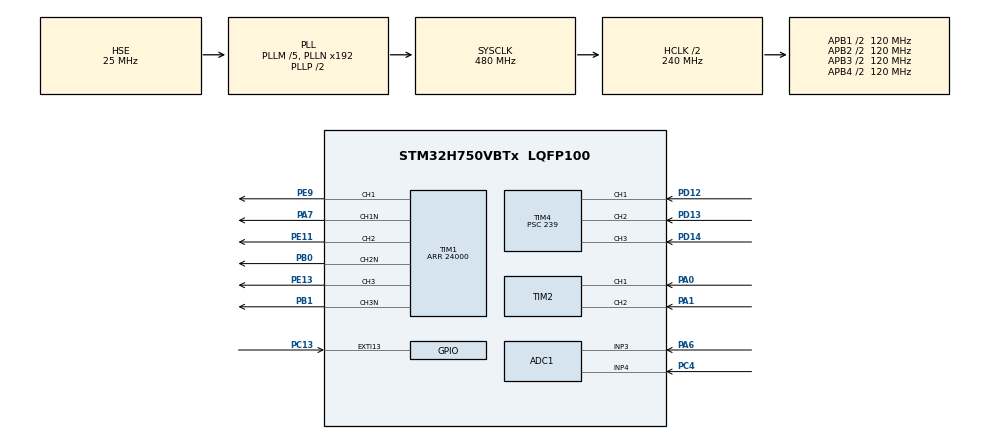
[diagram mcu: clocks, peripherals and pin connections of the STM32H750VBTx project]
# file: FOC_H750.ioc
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ADC1.Channel-0\#ChannelRegularConversion=ADC_CHANNEL_3
ADC1.ExternalTrigConv=ADC_EXTERNALTRIG_T1_TRGO
ADC1.NbrOfConversionFlag=1
ADC1.OffsetNumber-0\#ChannelRegularConversion=ADC_OFFSET_NONE
ADC1.OffsetSignedSaturation-0\#ChannelRegularConversion=DISABLE
ADC1.Rank-0\#ChannelRegularConversion=1
ADC1.SamplingTime-0\#ChannelRegularConversion=ADC_SAMPLETIME_1CYCLE_5
ADC1.master=1
ADC2.Channel-0\#ChannelRegularConversion=ADC_CHANNEL_3
ADC2.ExternalTrigConv=ADC_EXTERNALTRIG_T1_TRGO
ADC2.NbrOfConversionFlag=1
ADC2.OffsetNumber-0\#ChannelRegularConversion=ADC_OFFSET_NONE
ADC2.OffsetSignedSaturation-0\#ChannelRegularConversion=DISABLE
ADC2.Rank-0\#ChannelRegularConversion=1
ADC2.SamplingTime-0\#ChannelRegularConversion=ADC_SAMPLETIME_1CYCLE_5
CORTEX_M7.CPU_DCache=Enabled
CORTEX_M7.CPU_ICache=Enabled
CORTEX_M7.default_mode_Activation=1
Mcu.Family=STM32H7
Mcu.Name=STM32H750VBTx
Mcu.Package=LQFP100
NVIC.ADC_IRQn=true\:0\:0\:false\:false\:true\:true\:true\:true
NVIC.EXTI15_10_IRQn=true\:0\:0\:false\:false\:true\:true\:true\:true
NVIC.PriorityGroup=NVIC_PRIORITYGROUP_4
NVIC.TIM4_IRQn=true\:0\:0\:false\:false\:true\:true\:true\:true
NVIC.TIM6_DAC_IRQn=true\:15\:0\:false\:false\:true\:false\:true\:true
NVIC.TimeBase=TIM6_DAC_IRQn
NVIC.TimeBaseIP=TIM6
PA0.Signal=S_TIM2_CH1_ETR
PA1.Signal=S_TIM2_CH2
PA13\ (JTMS/SWDIO).Mode=Serial_Wire
PA13\ (JTMS/SWDIO).Signal=DEBUG_JTMS-SWDIO
PA14\ (JTCK/SWCLK).Mode=Serial_Wire
PA14\ (JTCK/SWCLK).Signal=DEBUG_JTCK-SWCLK
PA6.Signal=ADCx_INP3
PA7.Mode=PWM Generation1 CH1 CH1N
PA7.Signal=TIM1_CH1N
PB0.Mode=PWM Generation2 CH2 CH2N
PB0.Signal=TIM1_CH2N
PB1.Mode=PWM Generation3 CH3 CH3N
PB1.Signal=TIM1_CH3N
PC13.GPIO_ModeDefaultEXTI=GPIO_MODE_IT_FALLING
PC13.GPIO_PuPd=GPIO_PULLUP
PC13.Signal=GPXTI13
PC4.Signal=ADCx_INP4
PD12.Signal=S_TIM4_CH1
PD13.Signal=S_TIM4_CH2
PD14.Signal=S_TIM4_CH3
PE11.Signal=S_TIM1_CH2
PE13.Signal=S_TIM1_CH3
PE9.Signal=S_TIM1_CH1
PH0-OSC_IN\ (PH0).Mode=HSE-External-Oscillator
PH0-OSC_IN\ (PH0).Signal=RCC_OSC_IN
PH1-OSC_OUT\ (PH1).Mode=HSE-External-Oscillator
PH1-OSC_OUT\ (PH1).Signal=RCC_OSC_OUT
ProjectManager.HeapSize=0x200
ProjectManager.StackSize=0x400
ProjectManager.TargetToolchain=STM32CubeIDE
RCC.ADCFreq_Value=75000000
RCC.APB1Freq_Value=120000000
RCC.APB2Freq_Value=120000000
RCC.APB3Freq_Value=120000000
RCC.APB4Freq_Value=120000000
RCC.CortexFreq_Value=480000000
RCC.D1PPRE=RCC_APB3_DIV2
RCC.D2PPRE1=RCC_APB1_DIV2
RCC.D2PPRE2=RCC_APB2_DIV2
RCC.D3PPRE=RCC_APB4_DIV2
RCC.DIVM1=5
RCC.DIVM2=2
RCC.DIVN1=192
RCC.DIVN2=12
RCC.HCLKFreq_Value=240000000
RCC.HPRE=RCC_HCLK_DIV2
RCC.PLL2FRACN=0
RCC.PLLFRACN=0
RCC.PLLSourceVirtual=RCC_PLLSOURCE_HSE
RCC.SYSCLKFreq_VALUE=480000000
RCC.SYSCLKSource=RCC_SYSCLKSOURCE_PLLCLK
RCC.USBFreq_Value=480000000
SH.ADCx_INP3.0=ADC1_INP3,IN3-Single-Ended
SH.ADCx_INP3.1=ADC2_INP3,IN3-Single-Ended
SH.ADCx_INP4.0=ADC1_INP4,IN4-Single-Ended
SH.S_TIM1_CH1.0=TIM1_CH1,PWM Generation1 CH1 CH1N
SH.S_TIM1_CH2.0=TIM1_CH2,PWM Generation2 CH2 CH2N
SH.S_TIM1_CH3.0=TIM1_CH3,PWM Generation3 CH3 CH3N
SH.S_TIM2_CH1_ETR.0=TIM2_CH1,Encoder_Interface
SH.S_TIM2_CH2.0=TIM2_CH2,Encoder_Interface
SH.S_TIM4_CH1.0=TIM4_CH1,Xored_Inputs_Hall_Sensor_Interface
SH.S_TIM4_CH2.0=TIM4_CH2,Xored_Inputs_Hall_Sensor_Interface
SH.S_TIM4_CH3.0=TIM4_CH3,Xored_Inputs_Hall_Sensor_Interface
TIM1.Channel-PWM\ Generation1\ CH1\ CH1N=TIM_CHANNEL_1
TIM1.Channel-PWM\ Generation2\ CH2\ CH2N=TIM_CHANNEL_2
TIM1.Channel-PWM\ Generation3\ CH3\ CH3N=TIM_CHANNEL_3
TIM1.CounterMode=TIM_COUNTERMODE_CENTERALIGNED3
TIM1.DeadTime=100
TIM1.Period=24000
TIM1.TIM_MasterOutputTrigger=TIM_TRGO_UPDATE
TIM1.TIM_MasterSlaveMode=TIM_MASTERSLAVEMODE_ENABLE
TIM2.EncoderMode=TIM_ENCODERMODE_TI12
TIM4.Prescaler=239
VP_MEMORYMAP_VS_MEMORYMAP.Mode=CurAppReg
VP_SYS_VS_tim6.Mode=TIM6
board=custom

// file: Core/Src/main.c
/* USER CODE BEGIN Header */
/**
  ******************************************************************************
  * @file           : main.c
  * @brief          : Main program body
  ******************************************************************************
  * @attention
  *
  * Copyright (c) 2026 STMicroelectronics.
  * All rights reserved.
  *
  * This software is licensed under terms that can be found in the LICENSE file
  * in the root directory of this software component.
  * If no LICENSE file comes with this software, it is provided AS-IS.
  *
  ******************************************************************************
  */
/* USER CODE END Header */
#include "main.h"

/* USER CODE BEGIN Includes */
#include "clarke_park.h"
#include "inv_park.h"
#include "pi_control.h"
#include "scurve_ramp.h"
#include "svpwm.h"
#include "foc_config.h"
#include <math.h>
/* USER CODE END Includes */

ADC_HandleTypeDef hadc1;
ADC_HandleTypeDef hadc2;

TIM_HandleTypeDef htim1;
TIM_HandleTypeDef htim2;
TIM_HandleTypeDef htim4;

/* USER CODE BEGIN PV */
PI_Clamping pi_speed, pi_id, pi_iq;
ClarkePark_Transform clarke_park;
SVPWM_Controller svpwm;

// Constant Hardware
#define ARR_VALUE 24000.0f
#define ADC_OFFSET 32768.0f // Point 0 Ampe
#define ADC_GAIN 0.005f     // Const convert to Ampe

// Varies Debug to do Live Expressions
volatile uint8_t is_motor_running = 0;
volatile float target_speed_rpm = 0.0f;
volatile float measured_speed_rpm = 0.0f;
/* USER CODE END PV */

void SystemClock_Config(void);
void PeriphCommonClock_Config(void);
static void MPU_Config(void);
static void MX_GPIO_Init(void);
static void MX_ADC1_Init(void);
static void MX_TIM1_Init(void);
static void MX_TIM2_Init(void);
static void MX_TIM4_Init(void);
static void MX_ADC2_Init(void);

int main(void)
{

  /* MPU Configuration--------------------------------------------------------*/
  MPU_Config();

  /* Enable the CPU Cache */

  /* Enable I-Cache---------------------------------------------------------*/
  //SCB_EnableICache();

  /* Enable D-Cache---------------------------------------------------------*/
  //SCB_EnableDCache();

  /* MCU Configuration--------------------------------------------------------*/

  /* Reset of all peripherals, Initializes the Flash interface and the Systick. */
  HAL_Init();

  /* Configure the system clock */
  SystemClock_Config();

  /* Configure the peripherals common clocks */
  PeriphCommonClock_Config();

  /* Initialize all configured peripherals */
  MX_GPIO_Init();
  MX_ADC1_Init();
  MX_TIM1_Init();
  MX_TIM2_Init();
  MX_TIM4_Init();
  MX_ADC2_Init();
  /* USER CODE BEGIN 2 */
  // Initiation FOC
  FOC_Config_Init();
  PI_Init(&pi_id, foc_prm.Kp_i, foc_prm.Ki_i, foc_prm.Ts, foc_prm.U_max, -foc_prm.U_max);
  PI_Init(&pi_iq, foc_prm.Kp_i, foc_prm.Ki_i, foc_prm.Ts, foc_prm.U_max, -foc_prm.U_max);
  PI_Init(&pi_speed, foc_prm.Kp_w, foc_prm.Ki_w, foc_prm.Ts, foc_prm.Iq_max, -foc_prm.Iq_max);
  SVPWM_Init(&svpwm, foc_prm.Vdc, foc_prm.Tsw);

  // Enable TIMER on read Encoder
  HAL_TIM_Encoder_Start(&htim2, TIM_CHANNEL_ALL);

  // Timer on read Hall Sensor UVW
  HAL_TIMEx_HallSensor_Start(&htim4);

  // Enable TIM1 (Create SVPWM)
  HAL_TIM_PWM_Start(&htim1, TIM_CHANNEL_1);
  HAL_TIMEx_PWMN_Start(&htim1, TIM_CHANNEL_1);
  HAL_TIM_PWM_Start(&htim1, TIM_CHANNEL_2);
  HAL_TIMEx_PWMN_Start(&htim1, TIM_CHANNEL_2);
  HAL_TIM_PWM_Start(&htim1, TIM_CHANNEL_3);
  HAL_TIMEx_PWMN_Start(&htim1, TIM_CHANNEL_3);

  // Enable interrupt ADC (measure current)
  HAL_ADC_Start_IT(&hadc1); // ON interrupt ADC1
  HAL_ADC_Start(&hadc2);    // ADC2 run song song

  // variable control ON/OFF systems
  uint8_t is_motor_running = 0;
  float target_speed_rpm = 0.0f;

  /* USER CODE END 2 */

  /* Infinite loop */
  while (1)
  {

    /* USER CODE BEGIN 3 */
	  // KHI ĐANG CHẠY DEBUG, NẾU BẠN GÕ Apply_New_Tuning = 1
	if (foc_prm.Apply_New_Tuning == 1)
	{
		pi_id.Kp    = foc_prm.Kp_i;
		pi_id.Ki_Ts = foc_prm.Ki_i * foc_prm.Ts;
		pi_iq.Kp    = foc_prm.Kp_i;
		pi_iq.Ki_Ts = foc_prm.Ki_i * foc_prm.Ts;

		pi_id.Umax = foc_prm.U_max; pi_id.Umin = -foc_prm.U_max;
		pi_iq.Umax = foc_prm.U_max; pi_iq.Umin = -foc_prm.U_max;

		pi_speed.Kp    = foc_prm.Kp_w;
		pi_speed.Ki_Ts = foc_prm.Ki_w * foc_prm.Ts;
		pi_speed.Umax  = foc_prm.Iq_max;
		pi_speed.Umin  = -foc_prm.Iq_max;

		svpwm.Vdc = foc_prm.Vdc;
		svpwm.Tsw = foc_prm.Tsw;

		foc_prm.Apply_New_Tuning = 0;
	}
  }
  /* USER CODE END 3 */
}

void SystemClock_Config(void)
{
  RCC_OscInitTypeDef RCC_OscInitStruct = {0};
  RCC_ClkInitTypeDef RCC_ClkInitStruct = {0};

  /** Supply configuration update enable
  */
  HAL_PWREx_ConfigSupply(PWR_LDO_SUPPLY);

  /** Configure the main internal regulator output voltage
  */
  __HAL_PWR_VOLTAGESCALING_CONFIG(PWR_REGULATOR_VOLTAGE_SCALE0);

  while(!__HAL_PWR_GET_FLAG(PWR_FLAG_VOSRDY)) {}

  /** Initializes the RCC Oscillators according to the specified parameters
  * in the RCC_OscInitTypeDef structure.
  */
  RCC_OscInitStruct.OscillatorType = RCC_OSCILLATORTYPE_HSE;
  RCC_OscInitStruct.HSEState = RCC_HSE_ON;
  RCC_OscInitStruct.PLL.PLLState = RCC_PLL_ON;
  RCC_OscInitStruct.PLL.PLLSource = RCC_PLLSOURCE_HSE;
  RCC_OscInitStruct.PLL.PLLM = 5;
  RCC_OscInitStruct.PLL.PLLN = 192;
  RCC_OscInitStruct.PLL.PLLP = 2;
  RCC_OscInitStruct.PLL.PLLQ = 2;
  RCC_OscInitStruct.PLL.PLLR = 2;
  RCC_OscInitStruct.PLL.PLLRGE = RCC_PLL1VCIRANGE_2;
  RCC_OscInitStruct.PLL.PLLVCOSEL = RCC_PLL1VCOWIDE;
  RCC_OscInitStruct.PLL.PLLFRACN = 0;
  if (HAL_RCC_OscConfig(&RCC_OscInitStruct) != HAL_OK)
  {
    Error_Handler();
  }

  /** Initializes the CPU, AHB and APB buses clocks
  */
  RCC_ClkInitStruct.ClockType = RCC_CLOCKTYPE_HCLK|RCC_CLOCKTYPE_SYSCLK
                              |RCC_CLOCKTYPE_PCLK1|RCC_CLOCKTYPE_PCLK2
                              |RCC_CLOCKTYPE_D3PCLK1|RCC_CLOCKTYPE_D1PCLK1;
  RCC_ClkInitStruct.SYSCLKSource = RCC_SYSCLKSOURCE_PLLCLK;
  RCC_ClkInitStruct.SYSCLKDivider = RCC_SYSCLK_DIV1;
  RCC_ClkInitStruct.AHBCLKDivider = RCC_HCLK_DIV2;
  RCC_ClkInitStruct.APB3CLKDivider = RCC_APB3_DIV2;
  RCC_ClkInitStruct.APB1CLKDivider = RCC_APB1_DIV2;
  RCC_ClkInitStruct.APB2CLKDivider = RCC_APB2_DIV2;
  RCC_ClkInitStruct.APB4CLKDivider = RCC_APB4_DIV2;

  if (HAL_RCC_ClockConfig(&RCC_ClkInitStruct, FLASH_LATENCY_4) != HAL_OK)
  {
    Error_Handler();
  }
}

void PeriphCommonClock_Config(void)
{
  RCC_PeriphCLKInitTypeDef PeriphClkInitStruct = {0};

  /** Initializes the peripherals clock
  */
  PeriphClkInitStruct.PeriphClockSelection = RCC_PERIPHCLK_ADC;
  PeriphClkInitStruct.PLL2.PLL2M = 2;
  PeriphClkInitStruct.PLL2.PLL2N = 12;
  PeriphClkInitStruct.PLL2.PLL2P = 2;
  PeriphClkInitStruct.PLL2.PLL2Q = 2;
  PeriphClkInitStruct.PLL2.PLL2R = 2;
  PeriphClkInitStruct.PLL2.PLL2RGE = RCC_PLL2VCIRANGE_3;
  PeriphClkInitStruct.PLL2.PLL2VCOSEL = RCC_PLL2VCOMEDIUM;
  PeriphClkInitStruct.PLL2.PLL2FRACN = 0;
  PeriphClkInitStruct.AdcClockSelection = RCC_ADCCLKSOURCE_PLL2;
  if (HAL_RCCEx_PeriphCLKConfig(&PeriphClkInitStruct) != HAL_OK)
  {
    Error_Handler();
  }
}

static void MX_ADC1_Init(void)
{

  ADC_MultiModeTypeDef multimode = {0};
  ADC_ChannelConfTypeDef sConfig = {0};

  /** Common config
  */
  hadc1.Instance = ADC1;
  hadc1.Init.ClockPrescaler = ADC_CLOCK_ASYNC_DIV1;
  hadc1.Init.Resolution = ADC_RESOLUTION_16B;
  hadc1.Init.ScanConvMode = ADC_SCAN_DISABLE;
  hadc1.Init.EOCSelection = ADC_EOC_SINGLE_CONV;
  hadc1.Init.LowPowerAutoWait = DISABLE;
  hadc1.Init.ContinuousConvMode = DISABLE;
  hadc1.Init.NbrOfConversion = 1;
  hadc1.Init.DiscontinuousConvMode = DISABLE;
  hadc1.Init.ExternalTrigConv = ADC_EXTERNALTRIG_T1_TRGO;
  hadc1.Init.ExternalTrigConvEdge = ADC_EXTERNALTRIGCONVEDGE_RISING;
  hadc1.Init.ConversionDataManagement = ADC_CONVERSIONDATA_DR;
  hadc1.Init.Overrun = ADC_OVR_DATA_PRESERVED;
  hadc1.Init.LeftBitShift = ADC_LEFTBITSHIFT_NONE;
  hadc1.Init.OversamplingMode = DISABLE;
  hadc1.Init.Oversampling.Ratio = 1;
  if (HAL_ADC_Init(&hadc1) != HAL_OK)
  {
    Error_Handler();
  }

  /** Configure the ADC multi-mode
  */
  multimode.Mode = ADC_MODE_INDEPENDENT;
  if (HAL_ADCEx_MultiModeConfigChannel(&hadc1, &multimode) != HAL_OK)
  {
    Error_Handler();
  }

  /** Configure Regular Channel
  */
  sConfig.Channel = ADC_CHANNEL_3;
  sConfig.Rank = ADC_REGULAR_RANK_1;
  sConfig.SamplingTime = ADC_SAMPLETIME_1CYCLE_5;
  sConfig.SingleDiff = ADC_SINGLE_ENDED;
  sConfig.OffsetNumber = ADC_OFFSET_NONE;
  sConfig.Offset = 0;
  sConfig.OffsetSignedSaturation = DISABLE;
  if (HAL_ADC_ConfigChannel(&hadc1, &sConfig) != HAL_OK)
  {
    Error_Handler();
  }

}

static void MX_ADC2_Init(void)
{

  ADC_ChannelConfTypeDef sConfig = {0};

  /** Common config
  */
  hadc2.Instance = ADC2;
  hadc2.Init.ClockPrescaler = ADC_CLOCK_ASYNC_DIV1;
  hadc2.Init.Resolution = ADC_RESOLUTION_16B;
  hadc2.Init.ScanConvMode = ADC_SCAN_DISABLE;
  hadc2.Init.EOCSelection = ADC_EOC_SINGLE_CONV;
  hadc2.Init.LowPowerAutoWait = DISABLE;
  hadc2.Init.ContinuousConvMode = DISABLE;
  hadc2.Init.NbrOfConversion = 1;
  hadc2.Init.DiscontinuousConvMode = DISABLE;
  hadc2.Init.ExternalTrigConv = ADC_EXTERNALTRIG_T1_TRGO;
  hadc2.Init.ExternalTrigConvEdge = ADC_EXTERNALTRIGCONVEDGE_RISING;
  hadc2.Init.ConversionDataManagement = ADC_CONVERSIONDATA_DR;
  hadc2.Init.Overrun = ADC_OVR_DATA_PRESERVED;
  hadc2.Init.LeftBitShift = ADC_LEFTBITSHIFT_NONE;
  hadc2.Init.OversamplingMode = DISABLE;
  hadc2.Init.Oversampling.Ratio = 1;
  if (HAL_ADC_Init(&hadc2) != HAL_OK)
  {
    Error_Handler();
  }

  /** Configure Regular Channel
  */
  sConfig.Channel = ADC_CHANNEL_3;
  sConfig.Rank = ADC_REGULAR_RANK_1;
  sConfig.SamplingTime = ADC_SAMPLETIME_1CYCLE_5;
  sConfig.SingleDiff = ADC_SINGLE_ENDED;
  sConfig.OffsetNumber = ADC_OFFSET_NONE;
  sConfig.Offset = 0;
  sConfig.OffsetSignedSaturation = DISABLE;
  if (HAL_ADC_ConfigChannel(&hadc2, &sConfig) != HAL_OK)
  {
    Error_Handler();
  }

}

static void MX_TIM1_Init(void)
{

  TIM_MasterConfigTypeDef sMasterConfig = {0};
  TIM_OC_InitTypeDef sConfigOC = {0};
  TIM_BreakDeadTimeConfigTypeDef sBreakDeadTimeConfig = {0};

  htim1.Instance = TIM1;
  htim1.Init.Prescaler = 0;
  htim1.Init.CounterMode = TIM_COUNTERMODE_CENTERALIGNED3;
  htim1.Init.Period = 24000;
  htim1.Init.ClockDivision = TIM_CLOCKDIVISION_DIV1;
  htim1.Init.RepetitionCounter = 0;
  htim1.Init.AutoReloadPreload = TIM_AUTORELOAD_PRELOAD_DISABLE;
  if (HAL_TIM_PWM_Init(&htim1) != HAL_OK)
  {
    Error_Handler();
  }
  sMasterConfig.MasterOutputTrigger = TIM_TRGO_UPDATE;
  sMasterConfig.MasterOutputTrigger2 = TIM_TRGO2_RESET;
  sMasterConfig.MasterSlaveMode = TIM_MASTERSLAVEMODE_ENABLE;
  if (HAL_TIMEx_MasterConfigSynchronization(&htim1, &sMasterConfig) != HAL_OK)
  {
    Error_Handler();
  }
  sConfigOC.OCMode = TIM_OCMODE_PWM1;
  sConfigOC.Pulse = 0;
  sConfigOC.OCPolarity = TIM_OCPOLARITY_HIGH;
  sConfigOC.OCNPolarity = TIM_OCNPOLARITY_HIGH;
  sConfigOC.OCFastMode = TIM_OCFAST_DISABLE;
  sConfigOC.OCIdleState = TIM_OCIDLESTATE_RESET;
  sConfigOC.OCNIdleState = TIM_OCNIDLESTATE_RESET;
  if (HAL_TIM_PWM_ConfigChannel(&htim1, &sConfigOC, TIM_CHANNEL_1) != HAL_OK)
  {
    Error_Handler();
  }
  if (HAL_TIM_PWM_ConfigChannel(&htim1, &sConfigOC, TIM_CHANNEL_2) != HAL_OK)
  {
    Error_Handler();
  }
  if (HAL_TIM_PWM_ConfigChannel(&htim1, &sConfigOC, TIM_CHANNEL_3) != HAL_OK)
  {
    Error_Handler();
  }
  sBreakDeadTimeConfig.OffStateRunMode = TIM_OSSR_DISABLE;
  sBreakDeadTimeConfig.OffStateIDLEMode = TIM_OSSI_DISABLE;
  sBreakDeadTimeConfig.LockLevel = TIM_LOCKLEVEL_OFF;
  sBreakDeadTimeConfig.DeadTime = 100;
  sBreakDeadTimeConfig.BreakState = TIM_BREAK_DISABLE;
  sBreakDeadTimeConfig.BreakPolarity = TIM_BREAKPOLARITY_HIGH;
  sBreakDeadTimeConfig.BreakFilter = 0;
  sBreakDeadTimeConfig.Break2State = TIM_BREAK2_DISABLE;
  sBreakDeadTimeConfig.Break2Polarity = TIM_BREAK2POLARITY_HIGH;
  sBreakDeadTimeConfig.Break2Filter = 0;
  sBreakDeadTimeConfig.AutomaticOutput = TIM_AUTOMATICOUTPUT_DISABLE;
  if (HAL_TIMEx_ConfigBreakDeadTime(&htim1, &sBreakDeadTimeConfig) != HAL_OK)
  {
    Error_Handler();
  }
  HAL_TIM_MspPostInit(&htim1);

}

static void MX_TIM2_Init(void)
{

  TIM_Encoder_InitTypeDef sConfig = {0};
  TIM_MasterConfigTypeDef sMasterConfig = {0};

  htim2.Instance = TIM2;
  htim2.Init.Prescaler = 0;
  htim2.Init.CounterMode = TIM_COUNTERMODE_UP;
  htim2.Init.Period = 4294967295;
  htim2.Init.ClockDivision = TIM_CLOCKDIVISION_DIV1;
  htim2.Init.AutoReloadPreload = TIM_AUTORELOAD_PRELOAD_DISABLE;
  sConfig.EncoderMode = TIM_ENCODERMODE_TI12;
  sConfig.IC1Polarity = TIM_ICPOLARITY_RISING;
  sConfig.IC1Selection = TIM_ICSELECTION_DIRECTTI;
  sConfig.IC1Prescaler = TIM_ICPSC_DIV1;
  sConfig.IC1Filter = 0;
  sConfig.IC2Polarity = TIM_ICPOLARITY_RISING;
  sConfig.IC2Selection = TIM_ICSELECTION_DIRECTTI;
  sConfig.IC2Prescaler = TIM_ICPSC_DIV1;
  sConfig.IC2Filter = 0;
  if (HAL_TIM_Encoder_Init(&htim2, &sConfig) != HAL_OK)
  {
    Error_Handler();
  }
  sMasterConfig.MasterOutputTrigger = TIM_TRGO_RESET;
  sMasterConfig.MasterSlaveMode = TIM_MASTERSLAVEMODE_DISABLE;
  if (HAL_TIMEx_MasterConfigSynchronization(&htim2, &sMasterConfig) != HAL_OK)
  {
    Error_Handler();
  }

}

static void MX_TIM4_Init(void)
{

  TIM_HallSensor_InitTypeDef sConfig = {0};
  TIM_MasterConfigTypeDef sMasterConfig = {0};

  htim4.Instance = TIM4;
  htim4.Init.Prescaler = 239;
  htim4.Init.CounterMode = TIM_COUNTERMODE_UP;
  htim4.Init.Period = 65535;
  htim4.Init.ClockDivision = TIM_CLOCKDIVISION_DIV1;
  htim4.Init.AutoReloadPreload = TIM_AUTORELOAD_PRELOAD_DISABLE;
  sConfig.IC1Polarity = TIM_ICPOLARITY_RISING;
  sConfig.IC1Prescaler = TIM_ICPSC_DIV1;
  sConfig.IC1Filter = 0;
  sConfig.Commutation_Delay = 0;
  if (HAL_TIMEx_HallSensor_Init(&htim4, &sConfig) != HAL_OK)
  {
    Error_Handler();
  }
  sMasterConfig.MasterOutputTrigger = TIM_TRGO_OC2REF;
  sMasterConfig.MasterSlaveMode = TIM_MASTERSLAVEMODE_DISABLE;
  if (HAL_TIMEx_MasterConfigSynchronization(&htim4, &sMasterConfig) != HAL_OK)
  {
    Error_Handler();
  }

}

static void MX_GPIO_Init(void)
{
  GPIO_InitTypeDef GPIO_InitStruct = {0};

  /* GPIO Ports Clock Enable */
  __HAL_RCC_GPIOC_CLK_ENABLE();
  __HAL_RCC_GPIOH_CLK_ENABLE();
  __HAL_RCC_GPIOA_CLK_ENABLE();
  __HAL_RCC_GPIOB_CLK_ENABLE();
  __HAL_RCC_GPIOE_CLK_ENABLE();
  __HAL_RCC_GPIOD_CLK_ENABLE();

  /*Configure GPIO pin : PC13 */
  GPIO_InitStruct.Pin = GPIO_PIN_13;
  GPIO_InitStruct.Mode = GPIO_MODE_IT_FALLING;
  GPIO_InitStruct.Pull = GPIO_PULLUP;
  HAL_GPIO_Init(GPIOC, &GPIO_InitStruct);

  /* EXTI interrupt init*/
  HAL_NVIC_SetPriority(EXTI15_10_IRQn, 0, 0);
  HAL_NVIC_EnableIRQ(EXTI15_10_IRQn);

}

/* USER CODE BEGIN 4 */
void HAL_ADC_ConvCpltCallback(ADC_HandleTypeDef* hadc) {
    if(hadc->Instance == ADC1) {
        if(is_motor_running == 0) {
            // Disable Run, Locking signal svPWM for safety
            TIM1->CCR1 = 0; TIM1->CCR2 = 0; TIM1->CCR3 = 0;
            return;
        }

        // Read i current
        uint32_t adc_a = HAL_ADC_GetValue(&hadc1);
		uint32_t adc_b = HAL_ADC_GetValue(&hadc2);
		clarke_park.Ia = ((float)adc_a - ADC_OFFSET) * ADC_GAIN;
		clarke_park.Ib = ((float)adc_b - ADC_OFFSET) * ADC_GAIN;
        // Read Encoder
		uint32_t encoder_count = __HAL_TIM_GET_COUNTER(&htim2);
		float theta_mech = ((float)(encoder_count % 10000) / 10000.0f) * (2.0f * 3.14159f);
		float theta_elec = theta_mech * 4.0f;
		while (theta_elec >= (2.0f * 3.14159f)) theta_elec -= (2.0f * 3.14159f);
		clarke_park.Angle = theta_elec;

		ClarkePark_Update(&clarke_park);

        // Speed Target in debug
        // limit speed lower than 100 rpm
        if (target_speed_rpm > 100.0f) target_speed_rpm = 100.0f;
        if (target_speed_rpm < -100.0f) target_speed_rpm = -100.0f; // Quay nghịch

        // FOC Controller
        float Iq_ref = PI_Update(&pi_speed, target_speed_rpm, measured_speed_rpm);

		// PI_i Current
		float Vd = PI_Update(&pi_id, 0.0f, clarke_park.Id); // Id = 0
		float Vq = PI_Update(&pi_iq, Iq_ref, clarke_park.Iq);

		// Inv_park & Svpwm
		float cos_t = cos(clarke_park.Angle);
		float sin_t = sin(clarke_park.Angle);
		svpwm.Valpha = (Vd * cos_t) - (Vq * sin_t);
		svpwm.Vbeta  = (Vd * sin_t) + (Vq * cos_t);

		SVPWM_Update(&svpwm);

		// Export PWM to TIM1
		float duty_multiplier = ARR_VALUE / svpwm.Tsw;
		TIM1->CCR1 = (uint32_t)(svpwm.Ts1 * duty_multiplier);
		TIM1->CCR2 = (uint32_t)(svpwm.Ts2 * duty_multiplier);
		TIM1->CCR3 = (uint32_t)(svpwm.Ts3 * duty_multiplier);
    }
}
void HAL_GPIO_EXTI_Callback(uint16_t GPIO_Pin) {
    if(GPIO_Pin == GPIO_PIN_13) {
        is_motor_running = !is_motor_running; // invert state Start/Stop

        if(is_motor_running) {
            // When starting, reset block integral for PI avoid shaft shocks
            pi_id.I_prev = 0;
            pi_iq.I_prev = 0;
        }
    }
}
/* USER CODE END 4 */

 /* MPU Configuration */

void MPU_Config(void)
{
  MPU_Region_InitTypeDef MPU_InitStruct = {0};

  /* Disables the MPU */
  HAL_MPU_Disable();

  /** Initializes and configures the Region and the memory to be protected
  */
  MPU_InitStruct.Enable = MPU_REGION_ENABLE;
  MPU_InitStruct.Number = MPU_REGION_NUMBER0;
  MPU_InitStruct.BaseAddress = 0x0;
  MPU_InitStruct.Size = MPU_REGION_SIZE_4GB;
  MPU_InitStruct.SubRegionDisable = 0x87;
  MPU_InitStruct.TypeExtField = MPU_TEX_LEVEL0;
  MPU_InitStruct.AccessPermission = MPU_REGION_NO_ACCESS;
  MPU_InitStruct.DisableExec = MPU_INSTRUCTION_ACCESS_DISABLE;
  MPU_InitStruct.IsShareable = MPU_ACCESS_SHAREABLE;
  MPU_InitStruct.IsCacheable = MPU_ACCESS_NOT_CACHEABLE;
  MPU_InitStruct.IsBufferable = MPU_ACCESS_NOT_BUFFERABLE;

  HAL_MPU_ConfigRegion(&MPU_InitStruct);
  /* Enables the MPU */
  HAL_MPU_Enable(MPU_PRIVILEGED_DEFAULT);

}

void HAL_TIM_PeriodElapsedCallback(TIM_HandleTypeDef *htim)
{
  if (htim->Instance == TIM6)
  {
    HAL_IncTick();
  }
}

void Error_Handler(void)
{
  __disable_irq();
  while (1)
  {
  }
}
